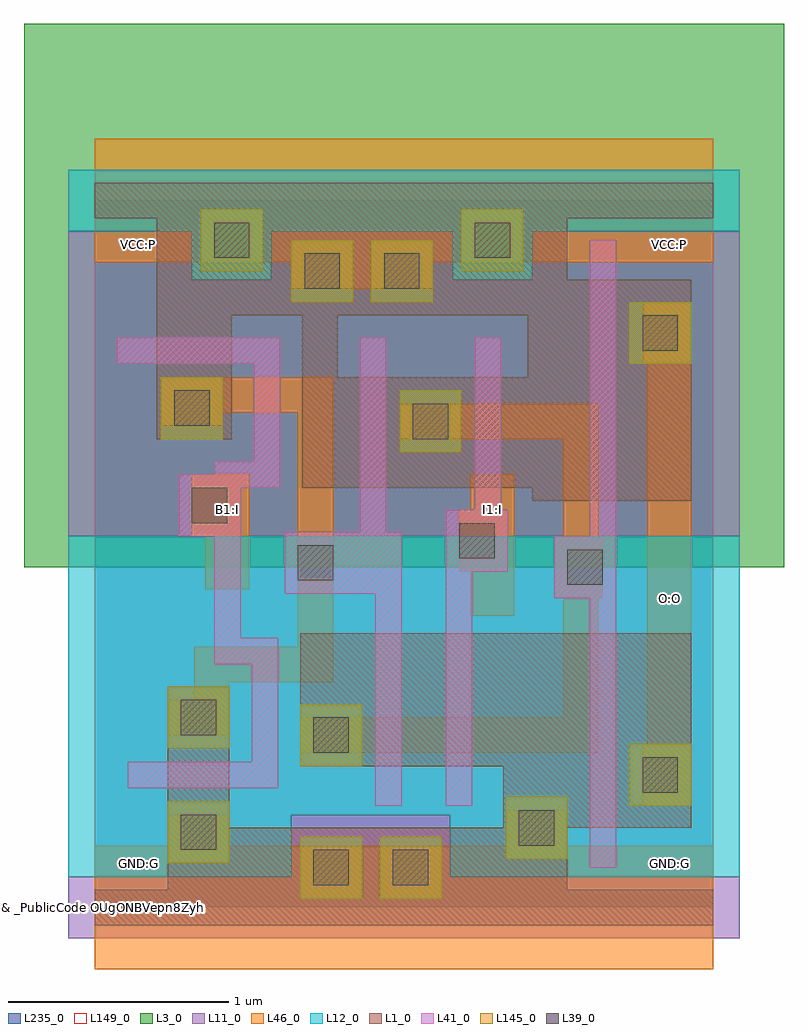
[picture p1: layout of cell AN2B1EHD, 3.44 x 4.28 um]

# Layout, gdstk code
from math import pi, radians
import gdstk
lib = gdstk.Library(unit=1e-6, precision=1e-09)
def R(c, l, rs):  # rectangles x0, y0, x1, y1
    for r in rs: c.add(gdstk.rectangle(r[:2], r[2:], *l))
def P(c, l, *ps):  # polygons
    for p in ps: c.add(gdstk.Polygon(p, *l))
L1_0 = (1, 0)
L3_0 = (3, 0)
L11_0 = (11, 0)
L12_0 = (12, 0)
L39_0 = (39, 0)
L41_0 = (41, 0)
L46_0 = (46, 0)
L145_0 = (145, 0)
L149_0 = (149, 0)
L235_0 = (235, 0)

c_pc = lib.new_cell('PC')
R(c_pc, L39_0, [(-0.08,-0.08,0.08,0.08)])
R(c_pc, L41_0, [(-0.14,-0.14,0.14,0.14)])
R(c_pc, L46_0, [(-0.08,-0.14,0.08,0.14)])

c_mc = lib.new_cell('MC')
R(c_mc, L39_0, [(-0.08,-0.08,0.08,0.08)])
R(c_mc, L46_0, [(-0.08,-0.14,0.08,0.14)])
R(c_mc, L145_0, [(-0.14,-0.14,0.14,0.14)])

ghlenmhbllc__41gum4xw0 = lib.new_cell('GHLENMHBLLC$$41Gum4XW0')
R(ghlenmhbllc__41gum4xw0, L1_0, [(0,-0.08,2.8,0.08), (0.33,0.08,0.61,1), (0.93,0.64,1.85,1.24), (0,3.12,2.8,3.28)])
P(ghlenmhbllc__41gum4xw0, L1_0, [(0.94,3.12),(0.28,3.12),(0.28,2.12),(0.62,2.12),(0.62,2.68),(0.94,2.68)],
  [(2.7,1.24),(1.85,1.24),(1.85,0.36),(0.61,0.36),(0.61,0.08),(2.14,0.08),(2.14,0.36),(2.7,0.36)],
  [(2.7,2.84),(2.14,2.84),(2.14,3.12),(1.96,3.12),(1.96,2.4),(1.1,2.4),(1.1,2.68),(1.96,2.68),(1.96,3.12),(0.94,3.12),(0.94,1.9),(1.98,1.9),(1.98,1.84),(2.7,1.84)])
R(ghlenmhbllc__41gum4xw0, L3_0, [(-0.32,1.54,3.12,4)])
R(ghlenmhbllc__41gum4xw0, L11_0, [(-0.12,-0.14,2.92,0.14), (-0.12,-0.14,2.92,0.14), (0.89,0.14,1.61,0.42)])
P(ghlenmhbllc__41gum4xw0, L11_0, [(2.92,3.06),(1.98,3.06),(1.98,2.84),(1.62,2.84),(1.62,3.06),(0.8,3.06),(0.8,2.84),(0.44,2.84),(0.44,3.06),(-0.12,3.06),(-0.12,1.68),(2.92,1.68)])
R(ghlenmhbllc__41gum4xw0, L12_0, [(0.44,2.84,0.8,3.06)])
P(ghlenmhbllc__41gum4xw0, L12_0, [(2.92,1.68),(-0.12,1.68),(-0.12,0.14),(0.89,0.14),(0.89,0.42),(1.61,0.42),(1.61,0.14),(2.92,0.14)],
  [(2.92,3.34),(-0.12,3.34),(-0.12,3.06),(1.62,3.06),(1.62,2.84),(1.98,2.84),(1.98,3.06),(2.92,3.06)])
R(ghlenmhbllc__41gum4xw0, L41_0, [(0.86,1.42,1.39,1.7)])
R(ghlenmhbllc__41gum4xw0, L46_0, [(2.08,1.4,2.3,1.68), (0.89,2.8,1.53,2.92)])
R(ghlenmhbllc__41gum4xw0, L149_0, [(0,0,2.8,3.2)])
R(ghlenmhbllc__41gum4xw0, L235_0, [(0,0,2.8,3.2), (0,0,2.8,3.2), (0,0,2.8,3.2), (0,0,2.8,3.2), (0,0,2.8,3.2), (0,0,2.8,3.2), (0,0,2.8,3.2), (0,0,2.8,3.2), (0,0,2.8,3.2), (0,0,2.8,3.2), (0,0,2.8,3.2), (0,0,2.8,3.2)])
ghlenmhbllc__41gum4xw0.add(gdstk.FlexPath([(1.38,2.2),(2.2,2.2),(2.2,0.78),(0.93,0.78)], 0.16, ends="flush", simple_path=True, layer=46, datatype=0))  # L46_0
ghlenmhbllc__41gum4xw0.add(gdstk.FlexPath([(0,0),(2.8,0)], 0.56, ends="flush", simple_path=True, layer=46, datatype=0))  # L46_0
ghlenmhbllc__41gum4xw0.add(gdstk.FlexPath([(0,3.2),(2.8,3.2)], 0.56, ends="flush", simple_path=True, layer=46, datatype=0))  # L46_0
ghlenmhbllc__41gum4xw0.add(gdstk.FlexPath([(0.6,1.44),(0.6,1.96)], 0.2, ends="flush", simple_path=True, layer=46, datatype=0))  # L46_0
ghlenmhbllc__41gum4xw0.add(gdstk.FlexPath([(0.3,2.32),(1,2.32),(1,1.1),(0.53,1.1),(0.53,0.78)], 0.16, ends="flush", simple_path=True, layer=46, datatype=0))  # L46_0
ghlenmhbllc__41gum4xw0.add(gdstk.FlexPath([(1.8,1.32),(1.8,1.96)], 0.2, ends="flush", simple_path=True, layer=46, datatype=0))  # L46_0
ghlenmhbllc__41gum4xw0.add(gdstk.FlexPath([(2.6,0.46),(2.6,2.74)], 0.2, ends="flush", simple_path=True, layer=46, datatype=0))  # L46_0
ghlenmhbllc__41gum4xw0.add(gdstk.FlexPath([(0.6,0),(0.6,3.2)], 0, ends="flush", simple_path=True, layer=145, datatype=0))  # L145_0
ghlenmhbllc__41gum4xw0.add(gdstk.FlexPath([(1,0),(1,3.2)], 0, ends="flush", simple_path=True, layer=145, datatype=0))  # L145_0
ghlenmhbllc__41gum4xw0.add(gdstk.FlexPath([(1.4,0),(1.4,3.2)], 0, ends="flush", simple_path=True, layer=145, datatype=0))  # L145_0
ghlenmhbllc__41gum4xw0.add(gdstk.FlexPath([(1.8,0),(1.8,3.2)], 0, ends="flush", simple_path=True, layer=145, datatype=0))  # L145_0
ghlenmhbllc__41gum4xw0.add(gdstk.FlexPath([(2.2,0),(2.2,3.2)], 0, ends="flush", simple_path=True, layer=145, datatype=0))  # L145_0
ghlenmhbllc__41gum4xw0.add(gdstk.FlexPath([(2.6,0),(2.6,3.2)], 0, ends="flush", simple_path=True, layer=145, datatype=0))  # L145_0
ghlenmhbllc__41gum4xw0.add(gdstk.FlexPath([(0,0.2),(2.8,0.2)], 0, ends="flush", simple_path=True, layer=145, datatype=0))  # L145_0
ghlenmhbllc__41gum4xw0.add(gdstk.FlexPath([(0,0.6),(2.8,0.6)], 0, ends="flush", simple_path=True, layer=145, datatype=0))  # L145_0
ghlenmhbllc__41gum4xw0.add(gdstk.FlexPath([(0,1),(2.8,1)], 0, ends="flush", simple_path=True, layer=145, datatype=0))  # L145_0
ghlenmhbllc__41gum4xw0.add(gdstk.FlexPath([(0,1.4),(2.8,1.4)], 0, ends="flush", simple_path=True, layer=145, datatype=0))  # L145_0
ghlenmhbllc__41gum4xw0.add(gdstk.FlexPath([(0,1.8),(2.8,1.8)], 0, ends="flush", simple_path=True, layer=145, datatype=0))  # L145_0
ghlenmhbllc__41gum4xw0.add(gdstk.FlexPath([(0,2.2),(2.8,2.2)], 0, ends="flush", simple_path=True, layer=145, datatype=0))  # L145_0
ghlenmhbllc__41gum4xw0.add(gdstk.FlexPath([(0,2.6),(2.8,2.6)], 0, ends="flush", simple_path=True, layer=145, datatype=0))  # L145_0
ghlenmhbllc__41gum4xw0.add(gdstk.FlexPath([(0,3),(2.8,3)], 0, ends="flush", simple_path=True, layer=145, datatype=0))  # L145_0
ghlenmhbllc__41gum4xw0.add(gdstk.FlexPath([(0.2,0),(0.2,3.2)], 0, ends="flush", simple_path=True, layer=145, datatype=0))  # L145_0
ghlenmhbllc__41gum4xw0.add(gdstk.FlexPath([(1.78,2.58),(1.78,1.74),(1.65,1.74),(1.65,0.46)], 0.12, ends="flush", simple_path=True, layer=41, datatype=0))  # L41_0
ghlenmhbllc__41gum4xw0.add(gdstk.FlexPath([(0.1,2.52),(0.78,2.52),(0.78,1.96),(0.6,1.96),(0.6,1.16),(0.77,1.16),(0.77,0.6),(0.15,0.6)], 0.12, ends="flush", simple_path=True, layer=41, datatype=0))  # L41_0
ghlenmhbllc__41gum4xw0.add(gdstk.FlexPath([(1.26,2.58),(1.26,1.52),(1.33,1.52),(1.33,0.46)], 0.12, ends="flush", simple_path=True, layer=41, datatype=0))  # L41_0
ghlenmhbllc__41gum4xw0.add(gdstk.FlexPath([(2.3,0.18),(2.3,3.02)], 0.12, ends="flush", simple_path=True, layer=41, datatype=0))  # L41_0
r = gdstk.Reference(c_pc, (1,1.56)); r.repetition = gdstk.Repetition(1, 1, v1=(0.28,0), v2=(0,0.32)); ghlenmhbllc__41gum4xw0.add(r)
r = gdstk.Reference(c_pc, (2.22,1.54)); r.repetition = gdstk.Repetition(1, 1, v1=(0.28,0), v2=(0,0.32)); ghlenmhbllc__41gum4xw0.add(r)
r = gdstk.Reference(c_pc, (0.52,1.82)); r.repetition = gdstk.Repetition(1, 1, v1=(0.28,0), v2=(0,0.32)); ghlenmhbllc__41gum4xw0.add(r)
r = gdstk.Reference(c_pc, (1.73,1.66)); r.repetition = gdstk.Repetition(1, 1, v1=(0.28,0), v2=(0,0.32)); ghlenmhbllc__41gum4xw0.add(r)
r = gdstk.Reference(c_mc, (1.03,2.88), rotation=pi/2); r.repetition = gdstk.Repetition(1, 1, v1=(0,0.28), v2=(-0.32,0)); ghlenmhbllc__41gum4xw0.add(r)
r = gdstk.Reference(c_mc, (0.47,0.34), rotation=pi/2); r.repetition = gdstk.Repetition(1, 1, v1=(0,0.28), v2=(-0.32,0)); ghlenmhbllc__41gum4xw0.add(r)
r = gdstk.Reference(c_mc, (2.56,2.6)); r.repetition = gdstk.Repetition(1, 1, v1=(0.28,0), v2=(0,0.32)); ghlenmhbllc__41gum4xw0.add(r)
r = gdstk.Reference(c_mc, (1.07,0.18), rotation=pi/2); r.repetition = gdstk.Repetition(1, 1, v1=(0,0.28), v2=(-0.32,0)); ghlenmhbllc__41gum4xw0.add(r)
r = gdstk.Reference(c_mc, (1.07,0.78), rotation=pi/2); r.repetition = gdstk.Repetition(1, 1, v1=(0,0.28), v2=(-0.32,0)); ghlenmhbllc__41gum4xw0.add(r)
r = gdstk.Reference(c_mc, (2.56,0.6)); r.repetition = gdstk.Repetition(1, 1, v1=(0.28,0), v2=(0,0.32)); ghlenmhbllc__41gum4xw0.add(r)
r = gdstk.Reference(c_mc, (0.62,3.02), rotation=pi/2, x_reflection=True); r.repetition = gdstk.Repetition(1, 1, v1=(0,0.28), v2=(0.32,0)); ghlenmhbllc__41gum4xw0.add(r)
r = gdstk.Reference(c_mc, (1.8,3.02), rotation=pi/2); r.repetition = gdstk.Repetition(1, 1, v1=(0,0.28), v2=(-0.32,0)); ghlenmhbllc__41gum4xw0.add(r)
r = gdstk.Reference(c_mc, (1.43,0.18), rotation=pi/2); r.repetition = gdstk.Repetition(1, 1, v1=(0,0.28), v2=(-0.32,0)); ghlenmhbllc__41gum4xw0.add(r)
r = gdstk.Reference(c_mc, (1.39,2.88), rotation=pi/2); r.repetition = gdstk.Repetition(1, 1, v1=(0,0.28), v2=(-0.32,0)); ghlenmhbllc__41gum4xw0.add(r)
r = gdstk.Reference(c_mc, (2,0.36), rotation=pi/2); r.repetition = gdstk.Repetition(1, 1, v1=(0,0.28), v2=(-0.32,0)); ghlenmhbllc__41gum4xw0.add(r)
r = gdstk.Reference(c_mc, (0.44,2.26), rotation=pi/2); r.repetition = gdstk.Repetition(1, 1, v1=(0,0.28), v2=(-0.32,0)); ghlenmhbllc__41gum4xw0.add(r)
r = gdstk.Reference(c_mc, (0.47,0.86), rotation=3*pi/2, x_reflection=True); r.repetition = gdstk.Repetition(1, 1, v1=(0,-0.28), v2=(-0.32,0)); ghlenmhbllc__41gum4xw0.add(r)
r = gdstk.Reference(c_mc, (1.52,2.2), rotation=pi/2); r.repetition = gdstk.Repetition(1, 1, v1=(0,0.28), v2=(-0.32,0)); ghlenmhbllc__41gum4xw0.add(r)
ghlenmhbllc__41gum4xw0.add(gdstk.Label('#Id:7JQJaQKD4XF6RXVVZbbHNLABMd9HZL9aK99JL0406EKC574E4A3EOSP8MXXWHY99T6WBH22210RAL9', (0.02,0.02), layer=147, texttype=0))
ghlenmhbllc__41gum4xw0.add(gdstk.Label('AN2B1EHD', (0,0), layer=144, texttype=0))
ghlenmhbllc__41gum4xw0.add(gdstk.Label('I1:I', (1.8,1.8), layer=101, texttype=0))
ghlenmhbllc__41gum4xw0.add(gdstk.Label('VCC:P', (0.2,3), layer=101, texttype=0))
ghlenmhbllc__41gum4xw0.add(gdstk.Label('VCC:P', (2.6,3), layer=101, texttype=0))
ghlenmhbllc__41gum4xw0.add(gdstk.Label('GND:G', (0.2,0.2), layer=101, texttype=0))
ghlenmhbllc__41gum4xw0.add(gdstk.Label('GND:G', (2.6,0.2), layer=101, texttype=0))
ghlenmhbllc__41gum4xw0.add(gdstk.Label('B1:I', (0.6,1.8), layer=101, texttype=0))
ghlenmhbllc__41gum4xw0.add(gdstk.Label('O:O', (2.6,1.4), layer=101, texttype=0))

an2b1ehd = lib.new_cell('AN2B1EHD')
R(an2b1ehd, L149_0, [(0,0,2.8,3.2)])
an2b1ehd.add(gdstk.Reference(ghlenmhbllc__41gum4xw0, (0,0)))
an2b1ehd.add(gdstk.Label('& _PublicCode OUgONBVepn8Zyhuhb7nzKSFGv0ozQ4p7', (0,0), layer=3, texttype=0))
an2b1ehd.add(gdstk.Label('& Metric 8.96', (0,0), layer=3, texttype=0))
an2b1ehd.add(gdstk.Label('& Version 2009Q1V3.0', (0,0), layer=3, texttype=0))
an2b1ehd.add(gdstk.Label('& Product FSC0H_D_GENERIC_CORE', (0,0), layer=3, texttype=0))
an2b1ehd.add(gdstk.Label('& Vendor Faraday_Technology_Corp.', (0,0), layer=3, texttype=0))
an2b1ehd.add(gdstk.Label('#Id:7JQJaQKD4XF6RXVVZbbHNLABMd9HZL9aK99JL0406EKC574E4A3EOSP8MXXWHY99T6WBH22210RAL9', (0.02,0.02), layer=147, texttype=0))
an2b1ehd.add(gdstk.Label('AN2B1EHD', (0,0), layer=144, texttype=0))
an2b1ehd.add(gdstk.Label('I1:I', (1.8,1.8), layer=101, texttype=0))
an2b1ehd.add(gdstk.Label('VCC:P', (0.2,3), layer=101, texttype=0))
an2b1ehd.add(gdstk.Label('VCC:P', (2.6,3), layer=101, texttype=0))
an2b1ehd.add(gdstk.Label('GND:G', (0.2,0.2), layer=101, texttype=0))
an2b1ehd.add(gdstk.Label('GND:G', (2.6,0.2), layer=101, texttype=0))
an2b1ehd.add(gdstk.Label('B1:I', (0.6,1.8), layer=101, texttype=0))
an2b1ehd.add(gdstk.Label('O:O', (2.6,1.4), layer=101, texttype=0))

lib.write_gds('AN2B1EHD.gds')
